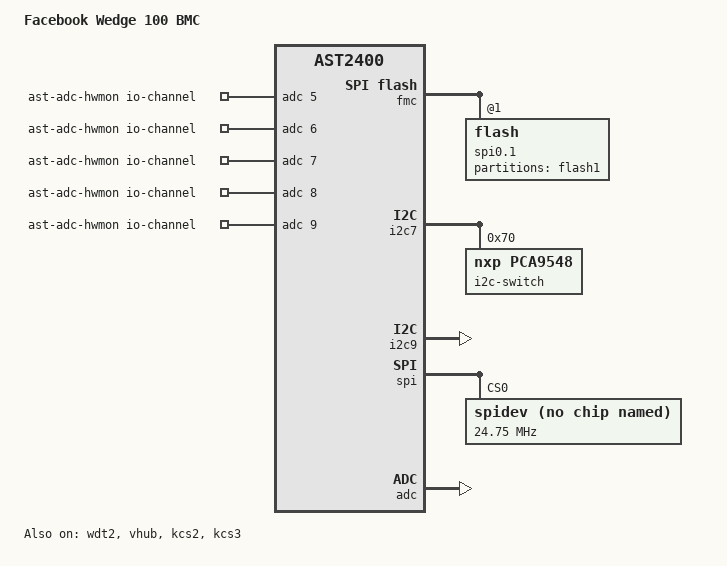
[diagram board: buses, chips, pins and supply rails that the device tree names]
// SPDX-License-Identifier: GPL-2.0+
// Copyright (c) 2018 Facebook Inc.
/dts-v1/;

#include <dt-bindings/gpio/aspeed-gpio.h>
#include "ast2400-facebook-netbmc-common.dtsi"

/ {
	model = "Facebook Wedge 100 BMC";
	compatible = "facebook,wedge100-bmc", "aspeed,ast2400";

	aliases {
		spi1 = &spi;
	};

	chosen {
		stdout-path = &uart3;
		bootargs = "console=ttyS2,9600n8 root=/dev/ram rw";
	};

	ast-adc-hwmon {
		compatible = "iio-hwmon";
		io-channels = <&adc 5>, <&adc 6>, <&adc 7>, <&adc 8>, <&adc 9>;
	};
};

&wdt2 {
	status = "okay";
	aspeed,reset-type = "system";
};

&fmc {
	flash@1 {
		status = "okay";
		m25p,fast-read;
		label = "spi0.1";

		partitions {
			compatible = "fixed-partitions";
			#address-cells = <1>;
			#size-cells = <1>;

			flash1@0 {
				reg = <0x0 0x2000000>;
				label = "flash1";
			};
		};
	};
};

&i2c7 {
	i2c-switch@70 {
		compatible = "nxp,pca9548";
		#address-cells = <1>;
		#size-cells = <0>;
		reg = <0x70>;
		i2c-mux-idle-disconnect;
	};
};

&i2c9 {
	status = "okay";
};


&vhub {
	status = "okay";
};

&kcs2 {
	status = "okay";
	aspeed,lpc-io-reg = <0xca8>;
};

&kcs3 {
	status = "okay";
	aspeed,lpc-io-reg = <0xca2>;
};

&spi {
	status = "okay";
	compatible = "aspeed,ast2400-spi-master";
	pinctrl-names = "default";
	pinctrl-0 = <&pinctrl_spi1_default>;

	spidev@0 {
		compatible = "rohm,dh2228fv";
		spi-max-frequency = <24750000>;
		reg = <0>;
	};
};

&adc {
	status = "okay";
};
